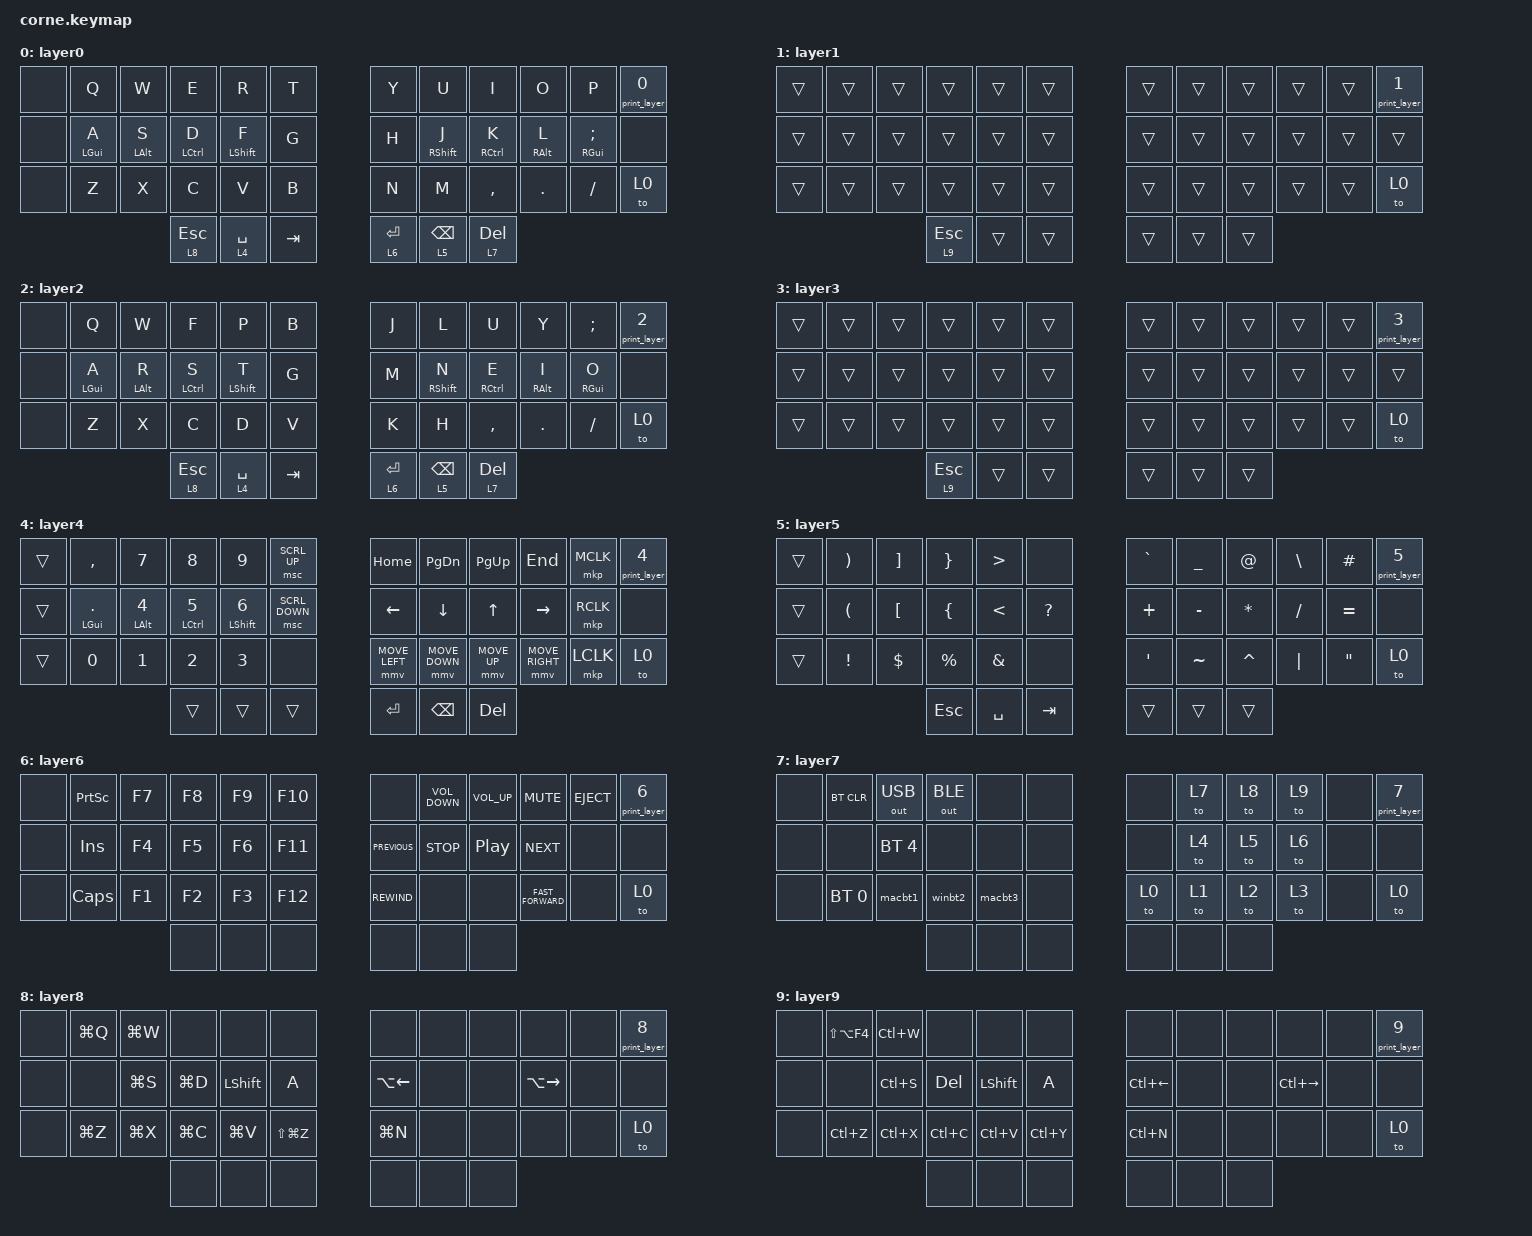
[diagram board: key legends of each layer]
/*
 * Copyright (c) 2020 The ZMK Contributors
 *
 * SPDX-License-Identifier: MIT
 */

#include <behaviors.dtsi>
#include <dt-bindings/zmk/bt.h>
#include <dt-bindings/zmk/ext_power.h>
#include <dt-bindings/zmk/keys.h>
#include <dt-bindings/zmk/outputs.h>

// Change default max velocities for mouse emulation
#define ZMK_POINTING_DEFAULT_MOVE_VAL 1500  // default: 600
#define ZMK_POINTING_DEFAULT_SCRL_VAL 20    // default: 10
#include <dt-bindings/zmk/pointing.h>

//  Mac layer definitions
#define M_RDO LS(LG(Z))
#define M_PST LG(V)
#define M_CPY LG(C)
#define M_CUT LG(X)
#define M_UND LG(Z)
#define M_SNX LG(D)
#define M_MNX LA(RIGHT)
#define M_MPR LA(LEFT)
#define M_SAV LG(S)
#define M_NEW LG(N)
#define M_CLW LG(W)
#define M_QAP LG(Q)
#define M_DEL LG(D)

// Win layer definitions
#define W_RDO LC(Y)
#define W_PST LC(V)
#define W_CPY LC(C)
#define W_CUT LC(X)
#define W_UND LC(Z)
#define W_SNX LC(D)
#define W_MNX LC(RIGHT)
#define W_MPR LC(LEFT)
#define W_SAV LC(S)
#define W_NEW LC(N)
#define W_CLW LC(W)
#define W_QAP LS(LA(F4))
#define W_DEL DELETE

// Mouse movement Advance config
&mmv {
    x-input-code = <INPUT_REL_X>;
    y-input-code = <INPUT_REL_Y>;  
    time-to-max-speed-ms = <750>;
    //time-to-max-speed-ms = <500>;
    acceleration-exponent=<1>;
};

// Mouse scroll Advance config
&msc  {
    x-input-code = <INPUT_REL_HWHEEL>;
    y-input-code = <INPUT_REL_WHEEL>;  
    time-to-max-speed-ms = <300>;
    acceleration-exponent=<0>;
};

  / {

    behaviors {
        hm: homerow_mods {
            compatible = "zmk,behavior-hold-tap";
            label = "HOMEROW_MODS";
            #binding-cells = <2>;
            flavor = "tap-preferred";
            tapping-term-ms = <200>;
            quick-tap-ms = <125>;
            // Prevent normal rollover on alphas from accidentally triggering mods, for a interval of quick-tap-ms.
            global-quick-tap;
            bindings = <&kp>, <&kp>;
        };
        mot: momentary_layer_tap {
            compatible = "zmk,behavior-hold-tap";
            label = "Momentary layer";
            #binding-cells = <2>;            
            flavor = "tap-preferred";
            tapping-term-ms = <200>;
            // Tune quick-tap-ms to enable double tap hold auto-repeat, comment to disable auto repeat
            //quick-tap-ms = <200>;            
            bindings = <&mo>, <&kp>;
        };
    };

    macros {
            macbt1: macbt1 {
            label = "macBT1";
            compatible = "zmk,behavior-macro";
            #binding-cells = <0>;
            bindings
                = <&to 0>
                , <&bt BT_SEL 1>
                ;
        };
            winbt2: winbt2 {
            label = "winBT2";
            compatible = "zmk,behavior-macro";
            #binding-cells = <0>;
            bindings
                = <&to 1>
                , <&bt BT_SEL 2>
                ;
        };
            macbt3: macbt3 {
            label = "macBT3";
            compatible = "zmk,behavior-macro";
            #binding-cells = <0>;
            bindings
                = <&to 0>
                , <&bt BT_SEL 3>
                ;
        };
            zed_em_kay: zed_em_kay {
            label = "ZM_zed_em_kay";
            compatible = "zmk,behavior-macro";
            #binding-cells = <0>;
            bindings
                = <&macro_press &kp LSHFT>
                , <&macro_tap &kp Z &kp M &kp K>
                , <&macro_release &kp LSHFT>
                ;
        };
            print_layer: print_layer {
            label = "print layer";
            compatible = "zmk,behavior-macro-one-param";
            #binding-cells = <1>; // Must be 1
            wait-ms = <40>;
            tap-ms = <40>;
            bindings
                = <&macro_press &kp LSHFT>
                , <&macro_tap &kp L &kp A &kp Y &kp E &kp R>
                , <&macro_release &kp LSHFT>
                , <&macro_tap &kp MINUS>
                , <&macro_param_1to1>, <&macro_tap &kp MACRO_PLACEHOLDER>
                ;
        };        
    };

    keymap {
      compatible = "zmk,keymap";
      // Qwerty with mot 8 for macOS
      layer0 {
          bindings = <
          &none &kp Q      &kp W      &kp E &kp R              &kp T          &kp Y &kp U        &kp I       &kp O        &kp P              &print_layer N0
          &none &hm LGUI A &hm LALT S &hm LCTRL D &hm LSHIFT F &kp G          &kp H &hm RSHIFT J &hm RCTRL K &hm RALT L   &hm RGUI SEMICOLON &none
          &none &kp Z      &kp X      &kp C       &kp V        &kp B          &kp N &kp M        &kp COMMA   &kp DOT      &kp SLASH          &to 0
                                     &mot 8 ESC &mot 4 SPACE &kp TAB          &mot 6 ENTER &mot 5 BACKSPACE &mot 7 DELETE
          >;
        };
      // Qwerty with mot 9 for Windows
      layer1 {
          bindings = <
          &trans &trans &trans &trans &trans &trans          &trans &trans &trans &trans &trans &print_layer N1
          &trans &trans &trans &trans &trans &trans          &trans &trans &trans &trans &trans &trans
          &trans &trans &trans &trans &trans &trans          &trans &trans &trans &trans &trans &to 0
                           &mot 9 ESC &trans &trans          &trans &trans &trans
          >;
        };
      // Colemak kind of with mot 8 for macOS
      layer2 {
          bindings = <
          &none &kp Q      &kp W      &kp F       &kp P        &kp B          &kp J &kp L        &kp U       &kp Y        &kp SEMICOLON &print_layer N2
          &none &hm LGUI A &hm LALT R &hm LCTRL S &hm LSHIFT T &kp G          &kp M &hm RSHIFT N &hm RCTRL E &hm RALT I   &hm RGUI O    &none
          &none &kp Z      &kp X      &kp C       &kp D        &kp V          &kp K &kp H        &kp COMMA   &kp DOT      &kp SLASH     &to 0
                                     &mot 8 ESC &mot 4 SPACE &kp TAB          &mot 6 ENTER &mot 5 BACKSPACE &mot 7 DELETE
          >;
        };
      // Colemak kind of with mot 9 for Windows
      layer3 {
          bindings = <
          &trans &trans &trans &trans &trans &trans          &trans &trans &trans &trans &trans &print_layer N3
          &trans &trans &trans &trans &trans &trans          &trans &trans &trans &trans &trans &trans
          &trans &trans &trans &trans &trans &trans          &trans &trans &trans &trans &trans &to 0
                           &mot 9 ESC &trans &trans          &trans &trans &trans
          >;
        };
      // Numbers arrows and mouse
      layer4 {
          bindings = <
          &trans &kp COMMA    &kp N7      &kp N8       &kp N9        &msc SCRL_UP            &kp HOME       &kp PAGE_DOWN  &kp PAGE_UP  &kp END         &mkp MCLK  &print_layer N4
          &trans &hm LGUI DOT &hm LALT N4 &hm LCTRL N5 &hm LSHIFT N6 &msc SCRL_DOWN          &kp LEFT       &kp DOWN       &kp UP       &kp RIGHT       &mkp RCLK  &none
          &trans &kp N0       &kp N1      &kp N2       &kp N3        &none                   &mmv MOVE_LEFT &mmv MOVE_DOWN &mmv MOVE_UP &mmv MOVE_RIGHT &mkp LCLK  &to 0
                                          &trans       &trans        &trans                  &kp ENTER      &kp BACKSPACE  &kp DELETE
          >;
        };
      // Symbols
      layer5 {
          bindings = < 
          &trans &kp RPAR &kp RBKT  &kp RBRC  &kp GT    &none              &kp GRAVE        &kp UNDER &kp AT    &kp BACKSLASH &kp HASH          &print_layer N5
          &trans &kp LPAR &kp LBKT  &kp LBRC  &kp LT    &kp QMARK          &kp PLUS         &kp MINUS &kp ASTRK &kp SLASH     &kp EQUAL         &none
          &trans &kp EXCL &kp DLLR  &kp PRCNT &kp AMPS  &none              &kp SINGLE_QUOTE &kp TILDE &kp CARET &kp PIPE      &kp DOUBLE_QUOTES &to 0
                                    &kp ESC   &kp SPACE &kp TAB            &trans           &trans    &trans
          >;
        };
      // F-Keys and Miscellaneous
      layer6 {
          bindings = <
          &none &kp PRINTSCREEN &kp F7 &kp F8 &kp F9 &kp F10          &none          &kp C_VOLUME_DOWN &kp C_VOLUME_UP  &kp C_MUTE         &kp C_EJECT &print_layer N6
          &none &kp INSERT      &kp F4 &kp F5 &kp F6 &kp F11          &kp C_PREVIOUS &kp C_STOP        &kp C_PLAY_PAUSE &kp C_NEXT         &none       &none
          &none &kp CAPSLOCK    &kp F1 &kp F2 &kp F3 &kp F12          &kp C_REWIND   &none             &none            &kp C_FAST_FORWARD &none       &to 0
                                           &none &none &none          &none &none &none
          >;
        };
      // Bluetooth profile selector and layer selector
      // BT_CLR will only clear the current active bluetooth profile
      layer7 {
          bindings = <
          &none  &bt BT_CLR   &out OUT_USB &out OUT_BLE &none   &none          &none  &to 7  &to 8  &to 9 &none &print_layer N7
          &none  &none        &bt BT_SEL 4 &none        &none   &none          &none  &to 4  &to 5  &to 6 &none &none
          &none  &bt BT_SEL 0 &macbt1      &winbt2      &macbt3 &none          &to 0  &to 1  &to 2  &to 3 &none &to 0
                                           &none        &none   &none          &none  &none  &none
          >;
        };
      // macOS layer
      layer8 {
          bindings = <
          &none &kp M_QAP &kp M_CLW &none     &none      &none              &none     &none &none &none     &none &print_layer N8
          &none &none     &kp M_SAV &kp M_DEL &kp LSHIFT &kp A              &kp M_MPR &none &none &kp M_MNX &none &none
          &none &kp M_UND &kp M_CUT &kp M_CPY &kp M_PST  &kp M_RDO          &kp M_NEW &none &none &none     &none &to 0
                                    &none     &none      &none              &none     &none &none
          >;
        };
      // Windows layer
      layer9 {
          bindings = <
          &none &kp W_QAP &kp W_CLW &none     &none      &none              &none     &none  &none  &none     &none  &print_layer N9
          &none &none     &kp W_SAV &kp W_DEL &kp LSHIFT &kp A              &kp W_MPR &none  &none  &kp W_MNX &none  &none
          &none &kp W_UND &kp W_CUT &kp W_CPY &kp W_PST  &kp W_RDO          &kp W_NEW &none  &none  &none     &none  &to 0
                                    &none     &none      &none              &none     &none  &none
          >;
        };
    };
  };

